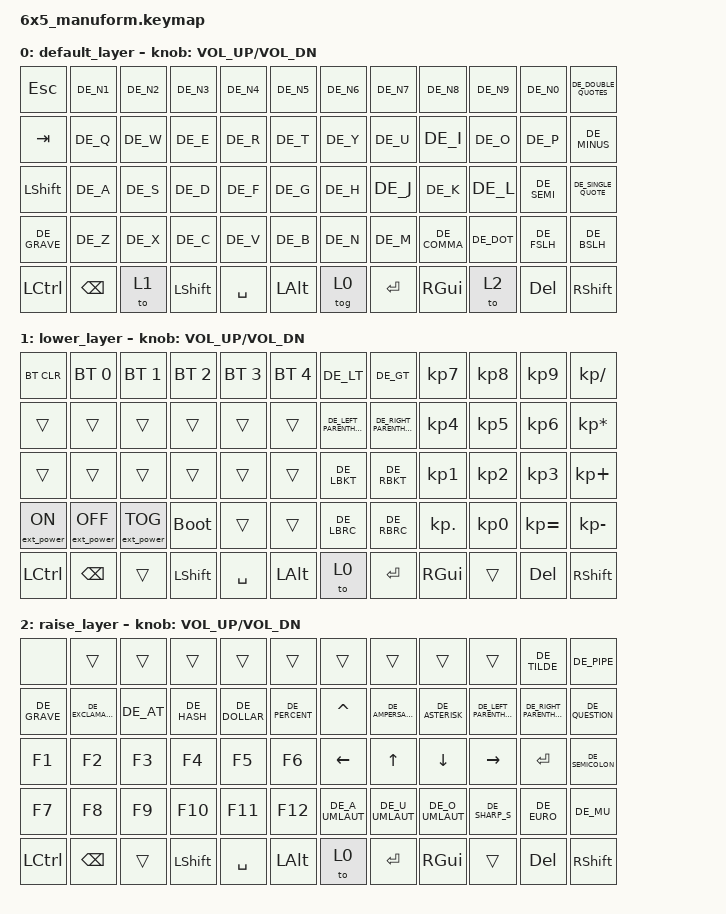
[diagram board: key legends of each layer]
/*
 * Copyright (c) 2020 The ZMK Contributors
 *
 * SPDX-License-Identifier: MIT
 */

#include <behaviors.dtsi>
#include "keys_de.h"
#include <dt-bindings/zmk/bt.h>
#include <dt-bindings/zmk/ext_power.h>
#include <dt-bindings/zmk/keys.h>

/ {
    combos {
        compatible = "zmk,combos";
    };

    keymap {
        compatible = "zmk,keymap";

        default_layer {
            // ------------------------------------------------------------------------------------------------------------
            // |  ESC   |  1  |  2  |  3   |  4   |  5   |                    |  6   |  7    |  8    |  9   |   0   |   `   |
            // |  TAB   |  Q  |  W  |  E   |  R   |  T   |                    |  Y   |  U    |  I    |  O   |   P   |   -   |
            // |  CTRL  |  A  |  S  |  D   |  F   |  G   |                    |  H   |  J    |  K    |  L   |   ;   |   '   |
            // | SHIFT  |  Z  |  X  |  C   |  V   |  B   |                    |  N   |  M    |  ,    |  .   |   /   | SHIFT |
            // |    2   |  2  | f   | 6    | 4    | 1    |                    | 2    | 1     | w     | s    | n     |  a    |

            bindings = <
&kp ESC       &kp DE_N1  &kp DE_N2  &kp DE_N3  &kp DE_N4  &kp DE_N5  &kp DE_N6  &kp DE_N7  &kp DE_N8     &kp DE_N9   &kp DE_N0    &kp DE_DOUBLE_QUOTES
&kp TAB       &kp DE_Q   &kp DE_W   &kp DE_E   &kp DE_R   &kp DE_T   &kp DE_Y   &kp DE_U   &kp DE_I      &kp DE_O    &kp DE_P     &kp DE_MINUS
&kp LSHFT     &kp DE_A   &kp DE_S   &kp DE_D   &kp DE_F   &kp DE_G   &kp DE_H   &kp DE_J   &kp DE_K      &kp DE_L    &kp DE_SEMI  &kp DE_SINGLE_QUOTE
&kp DE_GRAVE  &kp DE_Z   &kp DE_X   &kp DE_C   &kp DE_V   &kp DE_B   &kp DE_N   &kp DE_M   &kp DE_COMMA  &kp DE_DOT  &kp DE_FSLH  &kp DE_BSLH
&kp LCTRL     &kp BSPC   &to 1      &kp LSHFT  &kp SPACE  &kp LALT   &tog 0     &kp RET    &kp RGUI      &to 2       &kp DEL      &kp RIGHT_SHIFT
            >;

            sensor-bindings = <&inc_dec_kp C_VOL_UP C_VOL_DN>;
        };

        lower_layer {
            // ------------------------------------------------------------------------------------------------------------
            // | BTCLR | BT1 | BT2 |  BT3 |  BT4 |  BT5 |                   |      |       |       |      |       |       |
            // |  F1   |  F2 |  F3 |  F4  |  F5  |  F6  |                   |  F7  |  F8   |  F9   |  F10 |  F11  |  F12  |
            // |   `   |  !  |  @  |  #   |  $   |  %   |                   |  ^   |  &    |  *    |  (   |   )   |   ~   |
            // |       |     |     |      |      |      |                   |      |  _    |  +    |  {   |   }   |  "|"  |
            // |       |     |     |      |      |      |                   |      |       |       |      |       |       |

            bindings = <
&bt BT_CLR        &bt BT_SEL 0       &bt BT_SEL 1       &bt BT_SEL 2    &bt BT_SEL 3  &bt BT_SEL 4  &kp DE_LT                &kp DE_GT                 &kp KP_NUMBER_7  &kp KP_NUMBER_8  &kp KP_NUMBER_9  &kp KP_SLASH
&trans            &trans             &trans             &trans          &trans        &trans        &kp DE_LEFT_PARENTHESIS  &kp DE_RIGHT_PARENTHESIS  &kp KP_NUMBER_4  &kp KP_NUMBER_5  &kp KP_NUMBER_6  &kp KP_MULTIPLY
&trans            &trans             &trans             &trans          &trans        &trans        &kp DE_LBKT              &kp DE_RBKT               &kp KP_NUMBER_1  &kp KP_NUMBER_2  &kp KP_NUMBER_3  &kp KP_PLUS
&ext_power EP_ON  &ext_power EP_OFF  &ext_power EP_TOG  &bootloader     &trans        &trans        &kp DE_LBRC              &kp DE_RBRC               &kp KP_DOT       &kp KP_NUMBER_0  &kp KP_EQUAL     &kp KP_MINUS
&kp LCTRL         &kp BACKSPACE      &trans             &kp LEFT_SHIFT  &kp SPACE     &kp LEFT_ALT  &to 0                    &kp ENTER                 &kp RGUI         &trans           &kp DELETE       &kp RIGHT_SHIFT
            >;

            sensor-bindings = <&inc_dec_kp C_VOL_UP C_VOL_DN>;
        };

        raise_layer {
            // ------------------------------------------------------------------------------------------------------------
            // |       |     |     |      |      |      |                   |      |       |       |      |       |       |
            // |   `   |  1  |  2  |  3   |  4   |  5   |                   |  6   |   7   |   8   |  9   |   0   |       |
            // |   F1  |  F2 |  F3 |  F4  |  F5  |  F6  |                   |      |   <-  |   v   |  ^   |  ->   |       |
            // |   F7  |  F8 |  F9 |  F10 |  F11 |  F12 |		             |  +   |   -   |   =   |  [   |   ]   |   \   |
            // |     |     |      |      |      |        |                   |       |      |       |       |      |       |

            bindings = <
&none         &trans              &trans     &trans          &trans         &trans          &trans           &trans            &trans           &trans                   &kp DE_TILDE              &kp DE_PIPE
&kp DE_GRAVE  &kp DE_EXCLAMATION  &kp DE_AT  &kp DE_HASH     &kp DE_DOLLAR  &kp DE_PERCENT  &kp CARET        &kp DE_AMPERSAND  &kp DE_ASTERISK  &kp DE_LEFT_PARENTHESIS  &kp DE_RIGHT_PARENTHESIS  &kp DE_QUESTION
&kp F1        &kp F2              &kp F3     &kp F4          &kp F5         &kp F6          &kp LEFT_ARROW   &kp UP_ARROW      &kp DOWN         &kp RIGHT_ARROW          &kp ENTER                 &kp DE_SEMICOLON
&kp F7        &kp F8              &kp F9     &kp F10         &kp F11        &kp F12         &kp DE_A_UMLAUT  &kp DE_U_UMLAUT   &kp DE_O_UMLAUT  &kp DE_SHARP_S           &kp DE_EURO               &kp DE_MU
&kp LCTRL     &kp BACKSPACE       &trans     &kp LEFT_SHIFT  &kp SPACE      &kp LEFT_ALT    &to 0            &kp ENTER         &kp RGUI         &trans                   &kp DELETE                &kp RIGHT_SHIFT
            >;

            sensor-bindings = <&inc_dec_kp C_VOL_UP C_VOL_DN>;
        };
    };
};
